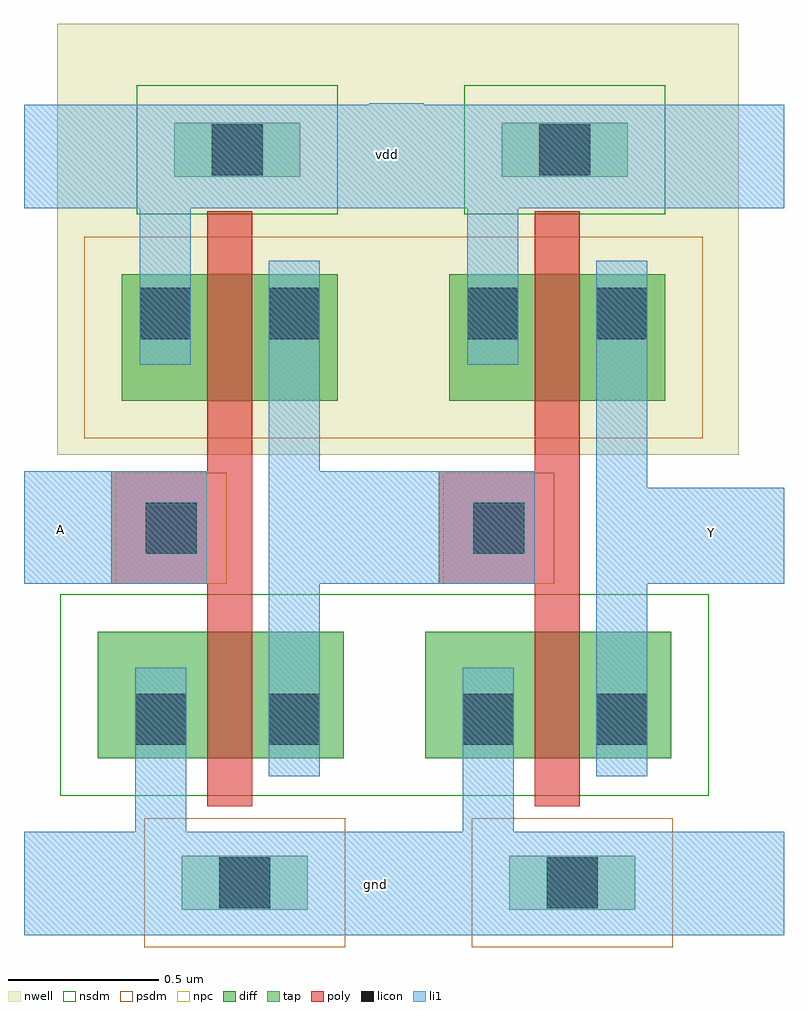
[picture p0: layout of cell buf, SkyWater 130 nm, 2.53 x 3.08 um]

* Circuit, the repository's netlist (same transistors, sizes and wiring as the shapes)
* NGSPICE file created from buf.ext - technology: sky130A

.subckt inv Y A GND VDD
X0 Y A GND GND sky130_fd_pr__nfet_01v8 ad=0.128 pd=1.45 as=0.153 ps=1.57 w=0.42 l=0.15
X1 Y A VDD VDD sky130_fd_pr__pfet_01v8 ad=0.12 pd=1.41 as=0.12 ps=1.41 w=0.42 l=0.15
.ends

.subckt buf A Y vdd gnd
Xinv_0 inv_1/A A gnd vdd inv
Xinv_1 Y inv_1/A gnd vdd inv
.ends

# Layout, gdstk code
import gdstk
lib = gdstk.Library(unit=1e-6, precision=1e-09)
def R(c, l, rs):  # rectangles x0, y0, x1, y1
    for r in rs: c.add(gdstk.rectangle(r[:2], r[2:], *l))
nwell = (64, 20)
diff = (65, 20)
tap = (65, 44)
poly = (66, 20)
licon = (66, 44)
li1 = (67, 20)
nsdm = (93, 44)
psdm = (94, 20)
npc = (95, 20)

inv = lib.new_cell('inv')
R(inv, nwell, [(-0.5,0.805,0.68,2.24)])
R(inv, diff, [(-0.365,-0.205,0.455,0.215), (-0.285,0.985,0.435,1.405)])
R(inv, tap, [(-0.085,-0.71,0.335,-0.53), (-0.11,1.73,0.31,1.91)])
R(inv, poly, [(0,-0.365,0.15,0.375), (-0.32,0.375,0.15,0.75), (0,0.75,0.15,1.615)])
R(inv, licon, [(0.04,-0.705,0.21,-0.535), (-0.24,-0.16,-0.07,0.01), (0.205,-0.16,0.375,0.01), (-0.205,0.475,-0.035,0.645), (-0.225,1.19,-0.055,1.36), (0.205,1.19,0.375,1.36), (0.015,1.735,0.185,1.905)])
R(inv, li1, [(-0.61,-0.795,0.785,-0.45), (-0.24,-0.45,-0.07,0.095), (0.205,-0.265,0.375,1.45), (-0.24,0.375,0,0.75), (-0.225,1.105,-0.055,1.625), (-0.565,1.625,0.83,1.97)])
R(inv, nsdm, [(-0.49,-0.33,0.58,0.34), (-0.235,1.605,0.435,2.035)])
R(inv, psdm, [(-0.21,-0.835,0.46,-0.405), (-0.41,0.86,0.56,1.53)])
R(inv, npc, [(-0.305,0.375,0.065,0.745)])
inv.add(gdstk.Label('Y', (0.31,0.675), layer=67, texttype=5))
inv.add(gdstk.Label('A', (-0.12,0.565), layer=67, texttype=5))
inv.add(gdstk.Label('GND', (0.125,-0.62), layer=67, texttype=5))
inv.add(gdstk.Label('VDD', (0.085,1.82), layer=67, texttype=5))

buf = lib.new_cell('buf')
R(buf, li1, [(1.09,-0.04,1.28,0.3), (2.495,-0.04,2.54,0.305), (0.01,1.13,0.38,1.505), (0.99,1.13,1.48,1.505), (2.08,1.13,2.54,1.45), (0.99,1.505,0.995,1.51), (0.01,2.38,0.055,2.725), (1.16,2.38,1.34,2.73)])
R(buf, nsdm, [(1.2,0.425,1.22,1.095)])
R(buf, psdm, [(1.18,1.615,1.3,2.285)])
buf.add(gdstk.Reference(inv, (1.71,0.755)))
buf.add(gdstk.Reference(inv, (0.62,0.755)))
buf.add(gdstk.Label('A', (0.13,1.31), layer=67, texttype=5))
buf.add(gdstk.Label('Y', (2.3,1.3), layer=67, texttype=5))
buf.add(gdstk.Label('vdd', (1.22,2.56), layer=67, texttype=5))
buf.add(gdstk.Label('gnd', (1.18,0.13), layer=67, texttype=5))

lib.write_gds('buf.gds')
